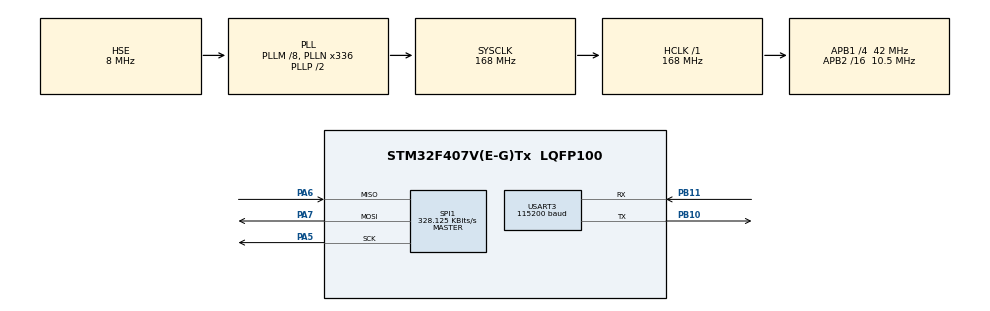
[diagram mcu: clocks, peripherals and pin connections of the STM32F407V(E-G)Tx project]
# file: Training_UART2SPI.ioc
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Mcu.Family=STM32F4
Mcu.Name=STM32F407V(E-G)Tx
Mcu.Package=LQFP100
NVIC.PriorityGroup=NVIC_PRIORITYGROUP_0
NVIC.USART3_IRQn=true\:0\:0\:false\:true\:true\:1\:true\:true
PA5.Mode=Full_Duplex_Master
PA5.Signal=SPI1_SCK
PA6.Mode=Full_Duplex_Master
PA6.Signal=SPI1_MISO
PA7.Mode=Full_Duplex_Master
PA7.Signal=SPI1_MOSI
PB10.Mode=Asynchronous
PB10.Signal=USART3_TX
PB11.Mode=Asynchronous
PB11.Signal=USART3_RX
PH0-OSC_IN.Mode=HSE-External-Oscillator
PH0-OSC_IN.Signal=RCC_OSC_IN
PH1-OSC_OUT.Mode=HSE-External-Oscillator
PH1-OSC_OUT.Signal=RCC_OSC_OUT
ProjectManager.HeapSize=0x200
ProjectManager.StackSize=0x400
ProjectManager.TargetToolchain=STM32CubeIDE
RCC.48MHZClocksFreq_Value=48000000
RCC.AHBFreq_Value=168000000
RCC.APB1CLKDivider=RCC_HCLK_DIV4
RCC.APB1Freq_Value=42000000
RCC.APB1TimFreq_Value=84000000
RCC.APB2CLKDivider=RCC_HCLK_DIV16
RCC.APB2Freq_Value=10500000
RCC.APB2TimFreq_Value=21000000
RCC.CortexFreq_Value=168000000
RCC.HCLKFreq_Value=168000000
RCC.HSE_VALUE=8000000
RCC.HSI_VALUE=16000000
RCC.LSE_VALUE=32768
RCC.PLLM=8
RCC.PLLN=336
RCC.PLLQ=7
RCC.PLLSourceVirtual=RCC_PLLSOURCE_HSE
RCC.SYSCLKFreq_VALUE=168000000
RCC.SYSCLKSource=RCC_SYSCLKSOURCE_PLLCLK
RCC.VCOOutputFreq_Value=336000000
SPI1.BaudRatePrescaler=SPI_BAUDRATEPRESCALER_32
SPI1.CLKPhase=SPI_PHASE_2EDGE
SPI1.CLKPolarity=SPI_POLARITY_HIGH
SPI1.CRCCalculation=SPI_CRCCALCULATION_ENABLE
SPI1.CRCPolynomial=X0+X1
SPI1.CalculateBaudRate=328.125 KBits/s
SPI1.DataSize=SPI_DATASIZE_8BIT
SPI1.Direction=SPI_DIRECTION_2LINES
SPI1.FirstBit=SPI_FIRSTBIT_MSB
SPI1.Mode=SPI_MODE_MASTER
SPI1.VirtualType=VM_MASTER
USART3.BaudRate=115200
USART3.VirtualMode=VM_ASYNC
board=STM32F407G-DISC1

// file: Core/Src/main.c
/* USER CODE BEGIN Header */
/**
  ******************************************************************************
  * @file           : main.c
  * @brief          : Main program body
  ******************************************************************************
  * @attention
  *
  * Copyright (c) 2022 STMicroelectronics.
  * All rights reserved.
  *
  * This software is licensed under terms that can be found in the LICENSE file
  * in the root directory of this software component.
  * If no LICENSE file comes with this software, it is provided AS-IS.
  *
  ******************************************************************************
  */
/* USER CODE END Header */
#include "main.h"

/* USER CODE BEGIN Includes */
#include <math.h>

/* USER CODE END Includes */

/* USER CODE BEGIN PM */
#define SIZE	17
#define HEADER	0xAA
#define OPCODE 	0x20

/* USER CODE END PM */

SPI_HandleTypeDef hspi1;

UART_HandleTypeDef huart3;

void SystemClock_Config(void);
static void MX_GPIO_Init(void);
static void MX_SPI1_Init(void);
static void MX_USART3_UART_Init(void);
static void MX_NVIC_Init(void);

/* USER CODE BEGIN 0 */
uint8_t g_Rx_data[SIZE], g_Tx_Data[SIZE];
uint16_t g_parsed_data[6];
uint64_t g_temp_data;

union converted16{
        struct{
                uint8_t lsb; // first 8 bit of the 16 bit data
                uint8_t msb; // second 8 bit of the 16 bit data
        }raw;
        uint16_t data;

}mydata;

void parse_data(uint64_t temp_data)
{
	// converting decimal to binary
	for (int i = 0; i < 6; ++i) {
		uint16_t temp = 0;
		for (int k = 0; k < 10; ++k) {
			int remainder = temp_data % 2;
			temp_data /= 2;
			if(remainder)
				temp |= (1 << k);
			else
				temp |= (0 << k);
		}
		// parsing the data 6 x 10 bit
		g_parsed_data[i] = temp;
	}
}

void SPI_Data_Tx(uint16_t *data, size_t length)
{
	// converting the 16 bit data to 8 bit data
	for(int i = 0; i < length; ++i) {
			mydata.data = g_parsed_data[i];
			g_Tx_Data[2 * i + 1]	= mydata.raw.lsb;
			g_Tx_Data[2 * i + 2]	= mydata.raw.msb;
	}
	// pre-defined OPCODE and HEADER adding
	g_Tx_Data[2 * length + 2] = 2 * length;
	g_Tx_Data[2 * length + 3] = OPCODE;
	g_Tx_Data[2 * length + 4] = HEADER;

}

void HAL_UART_RxCpltCallback(UART_HandleTypeDef *huart)
{

	int k = 0;

	// converting the obtained data to decimal
	for(int i = SIZE; i > 0 ; --i) {
		g_temp_data +=(uint64_t)((g_Rx_data[i-1]) * pow((double)10,(double)k));
		++k;
	}

	parse_data(g_temp_data);

	SPI_Data_Tx(g_parsed_data, sizeof(g_parsed_data)/sizeof(g_parsed_data[0]));

	HAL_SPI_Transmit(&hspi1, g_Tx_Data, 15, 100); // transmitting the parsed data
	hspi1.Instance->CR1 |= (1 << SPI_CR1_CRCNEXT); // to send CRC value as a last byte setting the CRCNEXT

}

/* USER CODE END 0 */

int main(void)
{

  /* MCU Configuration--------------------------------------------------------*/

  /* Reset of all peripherals, Initializes the Flash interface and the Systick. */
  HAL_Init();

  /* Configure the system clock */
  SystemClock_Config();

  /* Initialize all configured peripherals */
  MX_GPIO_Init();
  MX_SPI1_Init();
  MX_USART3_UART_Init();

  /* Initialize interrupts */
  MX_NVIC_Init();
  /* USER CODE BEGIN 2 */
  HAL_UART_Receive_IT(&huart3, g_Rx_data, 20);

  /* USER CODE END 2 */

  /* Infinite loop */
  while (1)
  {

  }
}

void SystemClock_Config(void)
{
  RCC_OscInitTypeDef RCC_OscInitStruct = {0};
  RCC_ClkInitTypeDef RCC_ClkInitStruct = {0};

  /** Configure the main internal regulator output voltage
  */
  __HAL_RCC_PWR_CLK_ENABLE();
  __HAL_PWR_VOLTAGESCALING_CONFIG(PWR_REGULATOR_VOLTAGE_SCALE1);
  /** Initializes the RCC Oscillators according to the specified parameters
  * in the RCC_OscInitTypeDef structure.
  */
  RCC_OscInitStruct.OscillatorType = RCC_OSCILLATORTYPE_HSE;
  RCC_OscInitStruct.HSEState = RCC_HSE_ON;
  RCC_OscInitStruct.PLL.PLLState = RCC_PLL_ON;
  RCC_OscInitStruct.PLL.PLLSource = RCC_PLLSOURCE_HSE;
  RCC_OscInitStruct.PLL.PLLM = 8;
  RCC_OscInitStruct.PLL.PLLN = 336;
  RCC_OscInitStruct.PLL.PLLP = RCC_PLLP_DIV2;
  RCC_OscInitStruct.PLL.PLLQ = 7;
  if (HAL_RCC_OscConfig(&RCC_OscInitStruct) != HAL_OK)
  {
    Error_Handler();
  }
  /** Initializes the CPU, AHB and APB buses clocks
  */
  RCC_ClkInitStruct.ClockType = RCC_CLOCKTYPE_HCLK|RCC_CLOCKTYPE_SYSCLK
                              |RCC_CLOCKTYPE_PCLK1|RCC_CLOCKTYPE_PCLK2;
  RCC_ClkInitStruct.SYSCLKSource = RCC_SYSCLKSOURCE_PLLCLK;
  RCC_ClkInitStruct.AHBCLKDivider = RCC_SYSCLK_DIV1;
  RCC_ClkInitStruct.APB1CLKDivider = RCC_HCLK_DIV4;
  RCC_ClkInitStruct.APB2CLKDivider = RCC_HCLK_DIV16;

  if (HAL_RCC_ClockConfig(&RCC_ClkInitStruct, FLASH_LATENCY_5) != HAL_OK)
  {
    Error_Handler();
  }
}

/**
  * @brief NVIC Configuration.
  * @retval None
  */
static void MX_NVIC_Init(void)
{
  /* USART3_IRQn interrupt configuration */
  HAL_NVIC_SetPriority(USART3_IRQn, 0, 0);
  HAL_NVIC_EnableIRQ(USART3_IRQn);
}

static void MX_SPI1_Init(void)
{

  /* SPI1 parameter configuration*/
  hspi1.Instance = SPI1;
  hspi1.Init.Mode = SPI_MODE_MASTER;
  hspi1.Init.Direction = SPI_DIRECTION_2LINES;
  hspi1.Init.DataSize = SPI_DATASIZE_8BIT;
  hspi1.Init.CLKPolarity = SPI_POLARITY_HIGH;
  hspi1.Init.CLKPhase = SPI_PHASE_2EDGE;
  hspi1.Init.NSS = SPI_NSS_SOFT;
  hspi1.Init.BaudRatePrescaler = SPI_BAUDRATEPRESCALER_32;
  hspi1.Init.FirstBit = SPI_FIRSTBIT_MSB;
  hspi1.Init.TIMode = SPI_TIMODE_DISABLE;
  hspi1.Init.CRCCalculation = SPI_CRCCALCULATION_ENABLE;
  hspi1.Init.CRCPolynomial = 3;
  if (HAL_SPI_Init(&hspi1) != HAL_OK)
  {
    Error_Handler();
  }

}

static void MX_USART3_UART_Init(void)
{

  huart3.Instance = USART3;
  huart3.Init.BaudRate = 115200;
  huart3.Init.WordLength = UART_WORDLENGTH_8B;
  huart3.Init.StopBits = UART_STOPBITS_1;
  huart3.Init.Parity = UART_PARITY_NONE;
  huart3.Init.Mode = UART_MODE_TX_RX;
  huart3.Init.HwFlowCtl = UART_HWCONTROL_NONE;
  huart3.Init.OverSampling = UART_OVERSAMPLING_16;
  if (HAL_UART_Init(&huart3) != HAL_OK)
  {
    Error_Handler();
  }

}

static void MX_GPIO_Init(void)
{

  /* GPIO Ports Clock Enable */
  __HAL_RCC_GPIOH_CLK_ENABLE();
  __HAL_RCC_GPIOA_CLK_ENABLE();
  __HAL_RCC_GPIOB_CLK_ENABLE();

}

void Error_Handler(void)
{
  __disable_irq();
  while (1)
  {
  }
}
